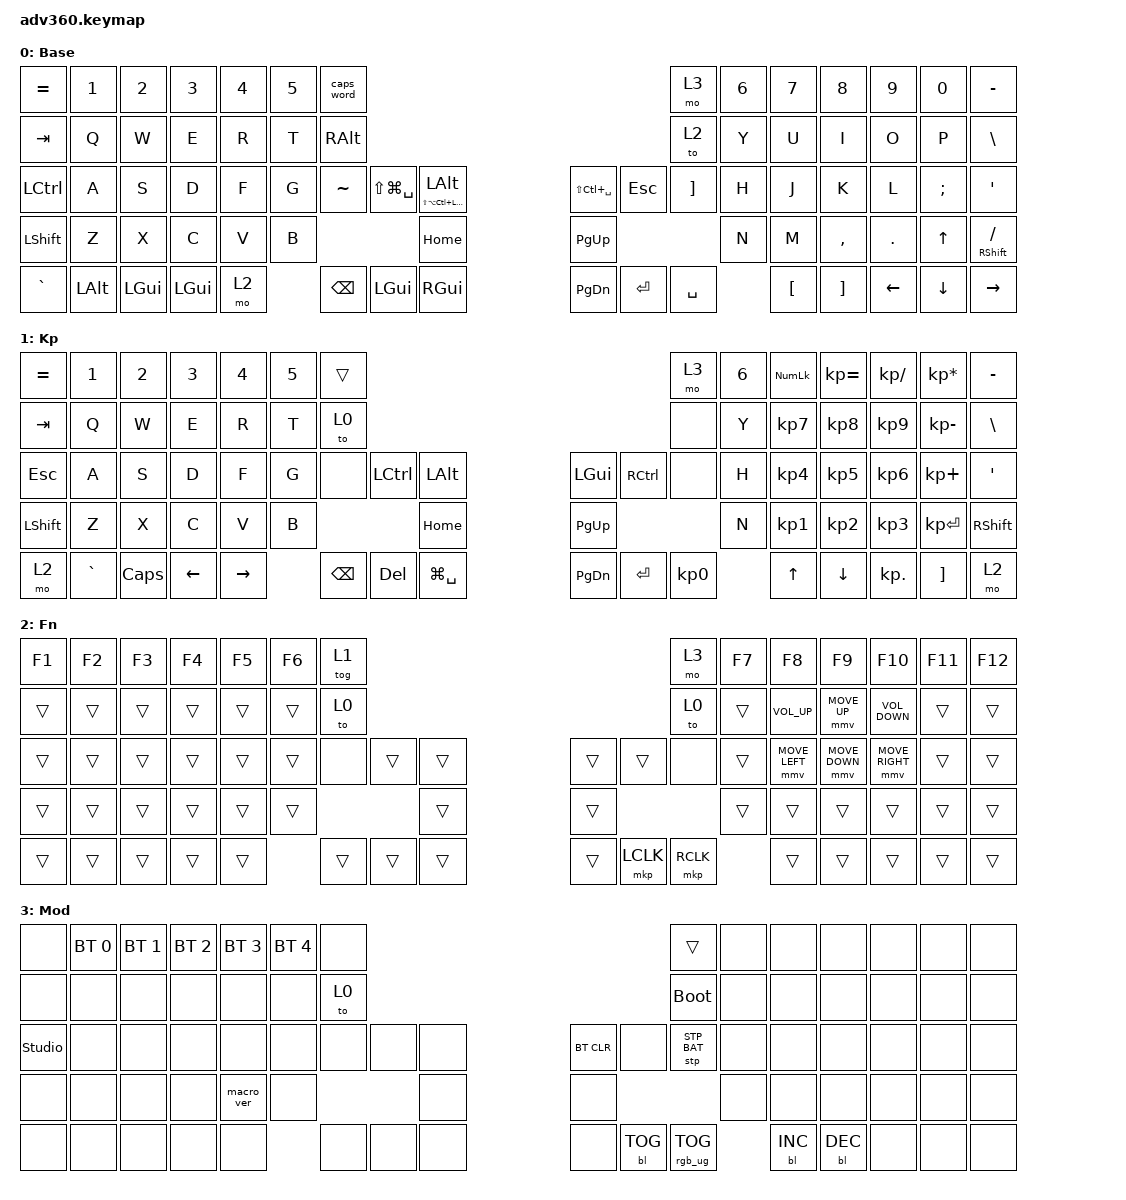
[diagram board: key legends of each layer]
#include <dt-bindings/zmk/stp.h>
#include <behaviors.dtsi>
#include <dt-bindings/zmk/backlight.h>
#include <dt-bindings/zmk/bt.h>
#include <dt-bindings/zmk/keys.h>
#include <dt-bindings/zmk/pointing.h>
#include <dt-bindings/zmk/rgb.h>

/ {
    behaviors {
        #include "macros.dtsi"
      #include "version.dtsi"

        hm: homerow_mods {
            compatible = "zmk,behavior-hold-tap";
            label = "HOMEROW_MODS";
            #binding-cells = <2>;
            tapping-term-ms = <200>;
            quick_tap_ms = <175>;
            flavor = "tap-preferred";
            bindings = <&kp>, <&kp>;
        };
    };

    keymap {
        compatible = "zmk,keymap";

        default_layer {
            display-name = "Base";
            bindings = <
&kp EQUAL  &kp N1    &kp N2    &kp N3    &kp N4  &kp N5  &caps_word                                                                                      &mo 3              &kp N6  &kp N7            &kp N8             &kp N9    &kp N0        &kp MINUS
&kp TAB    &kp Q     &kp W     &kp E     &kp R   &kp T   &kp RIGHT_ALT                                                                                   &to 2              &kp Y   &kp U             &kp I              &kp O     &kp P         &kp BSLH
&kp LCTRL  &kp A     &kp S     &kp D     &kp F   &kp G   &kp TILDE      &kp LS(LG(SPACE))  &mt LS(LA(LC(LALT))) LALT      &kp LS(LC(SPACE))  &kp ESCAPE  &kp RIGHT_BRACKET  &kp H   &kp J             &kp K              &kp L     &kp SEMI      &kp SQT
&kp LSHFT  &kp Z     &kp X     &kp C     &kp V   &kp B                                     &kp HOME                       &kp PG_UP                                         &kp N   &kp M             &kp COMMA          &kp DOT   &kp UP_ARROW  &mt RIGHT_SHIFT SLASH
&kp GRAVE  &kp LALT  &kp LGUI  &kp LGUI  &mo 2           &kp BSPC       &kp LEFT_GUI       &kp RGUI                       &kp PG_DN          &kp ENTER   &kp SPACE                  &kp LEFT_BRACKET  &kp RIGHT_BRACKET  &kp LEFT  &kp DOWN      &kp RIGHT
            >;
        };

        keypad {
            display-name = "Kp";
            bindings = <
&kp EQUAL  &kp N1     &kp N2    &kp N3    &kp N4     &kp N5  &trans                                                        &mo 3      &kp N6  &kp KP_NUM  &kp KP_EQUAL  &kp KP_DIVIDE  &kp KP_MULTIPLY  &kp MINUS
&kp TAB    &kp Q      &kp W     &kp E     &kp R      &kp T   &to 0                                                         &none      &kp Y   &kp KP_N7   &kp KP_N8     &kp KP_N9      &kp KP_MINUS     &kp BSLH
&kp ESC    &kp A      &kp S     &kp D     &kp F      &kp G   &none     &kp LCTRL  &kp LALT           &kp LGUI   &kp RCTRL  &none      &kp H   &kp KP_N4   &kp KP_N5     &kp KP_N6      &kp KP_PLUS      &kp SQT
&kp LSHFT  &kp Z      &kp X     &kp C     &kp V      &kp B                        &kp HOME           &kp PG_UP                        &kp N   &kp KP_N1   &kp KP_N2     &kp KP_N3      &kp KP_ENTER     &kp RSHFT
&mo 2      &kp GRAVE  &kp CAPS  &kp LEFT  &kp RIGHT          &kp BSPC  &kp DEL    &kp LG(SPACE)      &kp PG_DN  &kp ENTER  &kp KP_N0          &kp UP      &kp DOWN      &kp KP_DOT     &kp RBKT         &mo 2
            >;
        };

        fn {
            display-name = "Fn";
            bindings = <
&kp F1  &kp F2  &kp F3  &kp F4  &kp F5  &kp F6  &tog 1                                         &mo 3      &kp F7  &kp F8           &kp F9          &kp F10            &kp F11  &kp F12
&trans  &trans  &trans  &trans  &trans  &trans  &to 0                                          &to 0      &trans  &kp C_VOLUME_UP  &mmv MOVE_UP    &kp C_VOLUME_DOWN  &trans   &trans
&trans  &trans  &trans  &trans  &trans  &trans  &none   &trans  &trans      &trans  &trans     &none      &trans  &mmv MOVE_LEFT   &mmv MOVE_DOWN  &mmv MOVE_RIGHT    &trans   &trans
&trans  &trans  &trans  &trans  &trans  &trans                  &trans      &trans                        &trans  &trans           &trans          &trans             &trans   &trans
&trans  &trans  &trans  &trans  &trans          &trans  &trans  &trans      &trans  &mkp LCLK  &mkp RCLK          &trans           &trans          &trans             &trans   &trans
            >;
        };

        mod {
            display-name = "Mod";
            bindings = <
&none           &bt BT_SEL 0  &bt BT_SEL 1  &bt BT_SEL 2  &bt BT_SEL 3  &bt BT_SEL 4  &none                                            &trans           &none  &none       &none       &none  &none  &none
&none           &none         &none         &none         &none         &none         &to 0                                            &bootloader      &none  &none       &none       &none  &none  &none
&studio_unlock  &none         &none         &none         &none         &none         &none  &none  &none      &bt BT_CLR  &none       &stp STP_BAT     &none  &none       &none       &none  &none  &none
&none           &none         &none         &none         &macro_ver    &none                       &none      &none                                    &none  &none       &none       &none  &none  &none
&none           &none         &none         &none         &none                       &none  &none  &none      &none       &bl BL_TOG  &rgb_ug RGB_TOG         &bl BL_INC  &bl BL_DEC  &none  &none  &none
            >;
        };

        extra1 {
            display-name = "Red";
            status = "reserved";
        };

        extra2 {
            display-name = "Purple";
            status = "reserved";
        };

        extra3 {
            display-name = "Cyan";
            status = "reserved";
        };

        extra4 {
            display-name = "Yellow";
            status = "reserved";
        };
    };
};
